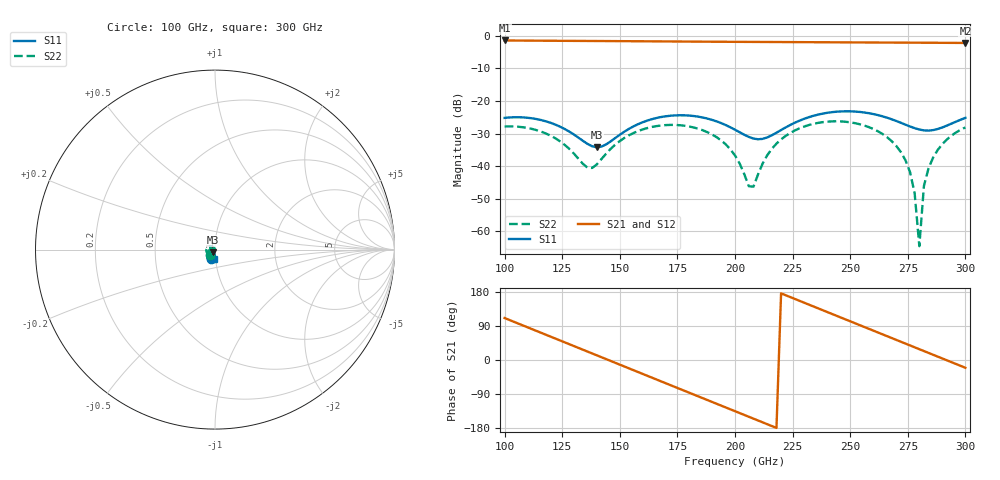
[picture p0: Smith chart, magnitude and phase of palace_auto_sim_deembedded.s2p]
! Created with skrf 1.11.0 (http://scikit-rf.org).
# GHz S DB R 50.0
!freq dBS11 angS11 dBS21 angS21 dBS12 angS12 dBS22 angS22
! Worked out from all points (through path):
!   101 points, 100 GHz to 300 GHz, reference 50 ohm
!   highest |S21| = -1.38 dB at 100 GHz (marker M1); lowest = -2.1 dB at 300 GHz (marker M2)
!   group delay of S21, straight-line fit = 6.82 ps
!   lowest |S11| = -34.2 dB at 140 GHz (marker M3), VSWR 1.04, Z = 48.9 - j1.55 ohm
!   |S11| at or under -10 dB: start of sweep to end of sweep
!   |S22| runs from -64.6 to -26.2 dB; largest |S21 - S12| = 9.5e-14
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100  -25.18 -113.0  -1.38 110.7  -1.38 110.7  -27.83 -137.4
116  -25.87 -141.4  -1.46 71.4  -1.46 71.4  -29.45 -172.4
134  -32.24 -148.5  -1.53 27.1  -1.53 27.1  -39.32 -174.3
140  -34.23 -125.2  -1.55 12.4  -1.55 12.4  -39.49 -128.3
152  -29.41 -93.4  -1.60 -17.2  -1.60 -17.2  -31.34 -117.7
168  -24.91 -109.3  -1.67 -56.6  -1.67 -56.6  -27.51 -149.2
186  -25.06 -136.1  -1.76 -100.7  -1.76 -100.7  -28.98 169.7
200  -28.81 -144.5  -1.81 -135.1  -1.81 -135.1  -36.73 145.5
206  -31.03 -134.7  -1.83 -149.8  -1.83 -149.8  -46.18 177.1
208  -31.53 -128.4  -1.83 -154.7  -1.83 -154.7  -46.33 -138.8
212  -31.63 -113.4  -1.85 -164.5  -1.85 -164.5  -39.20 -106.3
218  -29.74 -97.1  -1.87 -179.3  -1.87 -179.3  -33.09 -109.3
234  -24.55 -99.5  -1.92 141.4  -1.92 141.4  -27.02 -143.7
252  -23.23 -122.5  -1.99 97.2  -1.99 97.2  -26.79 172.2
268  -25.61 -137.0  -2.04 58.0  -2.04 58.0  -32.33 132.2
276  -27.83 -133.2  -2.06 38.4  -2.06 38.4  -41.88 112.3
278  -28.35 -130.1  -2.07 33.5  -2.07 33.5  -48.51 107.7
280  -28.76 -125.9  -2.08 28.5  -2.08 28.5  -64.61 -83.4
282  -29.02 -121.0  -2.08 23.6  -2.08 23.6  -46.13 -83.9
284  -29.09 -115.7  -2.09 18.7  -2.09 18.7  -40.66 -88.6
290  -28.12 -101.5  -2.11 4.0  -2.11 4.0  -33.23 -103.7
300  -25.17 -95.1  -2.15 -20.5  -2.15 -20.5  -28.11 -129.1
